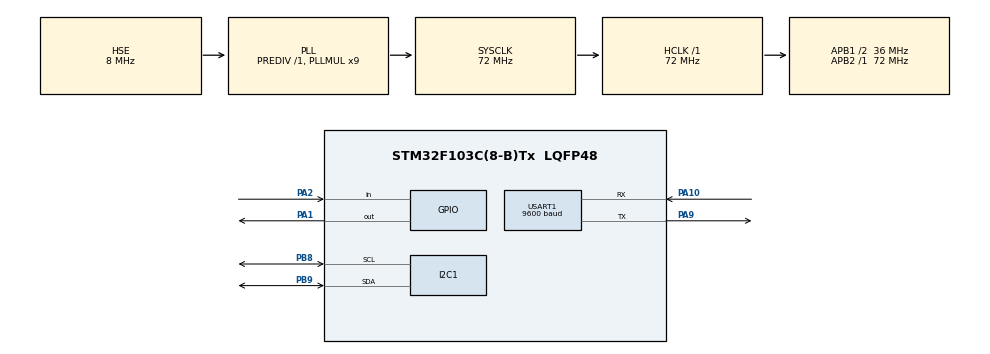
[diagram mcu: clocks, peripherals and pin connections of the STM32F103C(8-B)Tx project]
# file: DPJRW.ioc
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Mcu.Family=STM32F1
Mcu.Name=STM32F103C(8-B)Tx
Mcu.Package=LQFP48
NVIC.PriorityGroup=NVIC_PRIORITYGROUP_4
NVIC.USART1_IRQn=true\:0\:0\:false\:false\:true\:true\:true\:true
PA1.GPIO_PuPd=GPIO_PULLUP
PA1.GPIO_Speed=GPIO_SPEED_FREQ_HIGH
PA1.Signal=GPIO_Output
PA10.Mode=Asynchronous
PA10.Signal=USART1_RX
PA13.Mode=Serial_Wire
PA13.Signal=SYS_JTMS-SWDIO
PA14.Mode=Serial_Wire
PA14.Signal=SYS_JTCK-SWCLK
PA2.GPIO_PuPd=GPIO_PULLUP
PA2.Signal=GPIO_Input
PA9.Mode=Asynchronous
PA9.Signal=USART1_TX
PB8.Mode=I2C
PB8.Signal=I2C1_SCL
PB9.Mode=I2C
PB9.Signal=I2C1_SDA
PC14-OSC32_IN.Mode=LSE-External-Oscillator
PC14-OSC32_IN.Signal=RCC_OSC32_IN
PC15-OSC32_OUT.Mode=LSE-External-Oscillator
PC15-OSC32_OUT.Signal=RCC_OSC32_OUT
PD0-OSC_IN.Mode=HSE-External-Oscillator
PD0-OSC_IN.Signal=RCC_OSC_IN
PD1-OSC_OUT.Mode=HSE-External-Oscillator
PD1-OSC_OUT.Signal=RCC_OSC_OUT
ProjectManager.HeapSize=0x200
ProjectManager.StackSize=0x400
ProjectManager.TargetToolchain=MDK-ARM V5.32
RCC.AHBFreq_Value=72000000
RCC.APB1CLKDivider=RCC_HCLK_DIV2
RCC.APB1Freq_Value=36000000
RCC.APB1TimFreq_Value=72000000
RCC.APB2Freq_Value=72000000
RCC.APB2TimFreq_Value=72000000
RCC.HCLKFreq_Value=72000000
RCC.PLLMUL=RCC_PLL_MUL9
RCC.PLLSourceVirtual=RCC_PLLSOURCE_HSE
RCC.RTCClockSelection=RCC_RTCCLKSOURCE_LSE
RCC.SYSCLKFreq_VALUE=72000000
RCC.SYSCLKSource=RCC_SYSCLKSOURCE_PLLCLK
RCC.USBFreq_Value=72000000
RTC.Date=27
RTC.Format=RTC_FORMAT_BIN
RTC.Hours=17
RTC.Minutes=25
RTC.Month=RTC_MONTH_APRIL
RTC.Year=25
USART1.BaudRate=9600
USART1.VirtualMode=VM_ASYNC
VP_CRC_VS_CRC.Mode=CRC_Activate
VP_RTC_No_RTC_Output.Mode=RTC_OUT_NO
VP_RTC_VS_RTC_Activate.Mode=RTC_Enabled
VP_RTC_VS_RTC_Calendar.Mode=RTC_Calendar
board=custom

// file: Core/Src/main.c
/* USER CODE BEGIN Header */
/**
  ******************************************************************************
  * @file           : main.c
  * @brief          : Main program body
  ******************************************************************************
  * @attention
  *
  * Copyright (c) 2025 STMicroelectronics.
  * All rights reserved.
  *
  * This software is licensed under terms that can be found in the LICENSE file
  * in the root directory of this software component.
  * If no LICENSE file comes with this software, it is provided AS-IS.
  *
  ******************************************************************************
  */
/* USER CODE END Header */
#include "main.h"
#include "crc.h"
#include "i2c.h"
#include "rtc.h"
#include "usart.h"
#include "gpio.h"

/* USER CODE BEGIN Includes */
#include "OLED.h"
#include "Serial.h"
#include "myRTC.h"
uint8_t Receive_Byte = 0;
extern RTC_DateTypeDef GetData;
extern RTC_TimeTypeDef GetTime;

/* USER CODE END Includes */

void SystemClock_Config(void);

int main(void)
{

  /* MCU Configuration--------------------------------------------------------*/

  /* Reset of all peripherals, Initializes the Flash interface and the Systick. */
  HAL_Init();

  /* Configure the system clock */
  SystemClock_Config();

  /* Initialize all configured peripherals */
  MX_GPIO_Init();
  MX_CRC_Init();
  MX_I2C1_Init();
  MX_USART1_UART_Init();
  MX_RTC_Init();
  /* USER CODE BEGIN 2 */
  OLED_Init();
  HAL_Delay(10);
  OLED_Clear();

  /* USER CODE END 2 */

  /* Infinite loop */
  /* USER CODE BEGIN WHILE */
  uint32_t value;
  //0x3010F0D8

  while (1)
  {
	  if(HAL_GPIO_ReadPin(GPIOA,GPIO_PIN_2) == 0)
	  {
		  HAL_Delay(50);
		  if(HAL_GPIO_ReadPin(GPIOA,GPIO_PIN_2) == 0)
		  {
		  OLED_Clear();
     	  HAL_GPIO_WritePin(GPIOA,GPIO_PIN_1 ,GPIO_PIN_SET);
		  }
	  }
	  else
	  {
		HAL_GPIO_WritePin(GPIOA,GPIO_PIN_1 ,GPIO_PIN_RESET);
        Serial_ReceiveByte(&Receive_Byte);
        if(Receive_Byte == 0xFF)
        {
		  Time_Get();
		  OLED_ShowNum(3,1,2000 + GetData.Year,4);
          OLED_ShowNum(3,5,GetData.Month ,2);
          OLED_ShowNum(3,7,GetData.Date,2);
          OLED_ShowNum(4,1,GetTime.Hours,2);
		  OLED_ShowString(4,3,":");
          OLED_ShowNum(4,4,GetTime.Minutes,2);
		  OLED_ShowString(4,6,":");
          OLED_ShowNum(4,7,GetTime.Seconds,2);
		}
	      OLED_ShowString(1,1,"Data:");
          OLED_ShowHexNum(1,6,Receive_Byte,8);
          OLED_ShowString(2,1,"CRC:");
          value = CRC_Calculate((uint32_t *)&Receive_Byte,1);
          OLED_ShowHexNum(2,5,value,8);
      }
  }

    /* USER CODE END WHILE */

}
void SystemClock_Config(void)
{
  RCC_OscInitTypeDef RCC_OscInitStruct = {0};
  RCC_ClkInitTypeDef RCC_ClkInitStruct = {0};
  RCC_PeriphCLKInitTypeDef PeriphClkInit = {0};

  /** Initializes the RCC Oscillators according to the specified parameters
  * in the RCC_OscInitTypeDef structure.
  */
  RCC_OscInitStruct.OscillatorType = RCC_OSCILLATORTYPE_HSE|RCC_OSCILLATORTYPE_LSE;
  RCC_OscInitStruct.HSEState = RCC_HSE_ON;
  RCC_OscInitStruct.HSEPredivValue = RCC_HSE_PREDIV_DIV1;
  RCC_OscInitStruct.LSEState = RCC_LSE_ON;
  RCC_OscInitStruct.HSIState = RCC_HSI_ON;
  RCC_OscInitStruct.PLL.PLLState = RCC_PLL_ON;
  RCC_OscInitStruct.PLL.PLLSource = RCC_PLLSOURCE_HSE;
  RCC_OscInitStruct.PLL.PLLMUL = RCC_PLL_MUL9;
  if (HAL_RCC_OscConfig(&RCC_OscInitStruct) != HAL_OK)
  {
    Error_Handler();
  }

  /** Initializes the CPU, AHB and APB buses clocks
  */
  RCC_ClkInitStruct.ClockType = RCC_CLOCKTYPE_HCLK|RCC_CLOCKTYPE_SYSCLK
                              |RCC_CLOCKTYPE_PCLK1|RCC_CLOCKTYPE_PCLK2;
  RCC_ClkInitStruct.SYSCLKSource = RCC_SYSCLKSOURCE_PLLCLK;
  RCC_ClkInitStruct.AHBCLKDivider = RCC_SYSCLK_DIV1;
  RCC_ClkInitStruct.APB1CLKDivider = RCC_HCLK_DIV2;
  RCC_ClkInitStruct.APB2CLKDivider = RCC_HCLK_DIV1;

  if (HAL_RCC_ClockConfig(&RCC_ClkInitStruct, FLASH_LATENCY_2) != HAL_OK)
  {
    Error_Handler();
  }
  PeriphClkInit.PeriphClockSelection = RCC_PERIPHCLK_RTC;
  PeriphClkInit.RTCClockSelection = RCC_RTCCLKSOURCE_LSE;
  if (HAL_RCCEx_PeriphCLKConfig(&PeriphClkInit) != HAL_OK)
  {
    Error_Handler();
  }
}

void Error_Handler(void)
{
  __disable_irq();
  while (1)
  {
  }
}
